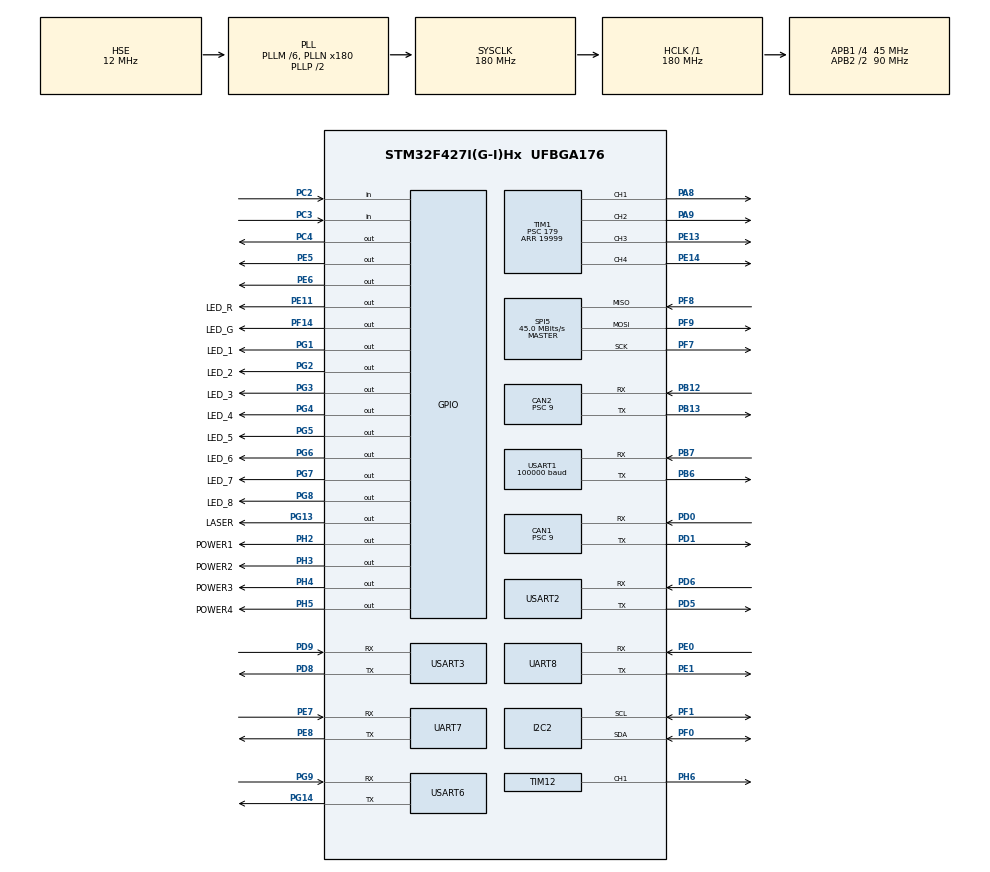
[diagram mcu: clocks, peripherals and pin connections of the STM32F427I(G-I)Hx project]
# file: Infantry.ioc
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CAN1.ABOM=ENABLE
CAN1.BS1=CAN_BS1_2TQ
CAN1.BS2=CAN_BS2_2TQ
CAN1.CalculateTimeBit=1000
CAN1.CalculateTimeQuantum=200.0
CAN1.Prescaler=9
CAN1.SJW=CAN_SJW_4TQ
CAN2.ABOM=ENABLE
CAN2.BS1=CAN_BS1_2TQ
CAN2.BS2=CAN_BS2_2TQ
CAN2.CalculateTimeBit=1000
CAN2.CalculateTimeQuantum=200.0
CAN2.Prescaler=9
CAN2.SJW=CAN_SJW_4TQ
Dma.Request0=USART1_RX
Dma.Request1=USART2_RX
Dma.Request2=USART3_RX
Dma.Request3=USART3_TX
Dma.Request4=UART8_RX
Dma.Request5=USART6_RX
Dma.Request6=USART6_TX
Dma.Request7=UART7_RX
Dma.UART7_RX.7.Channel=DMA_CHANNEL_5
Dma.UART7_RX.7.Direction=DMA_PERIPH_TO_MEMORY
Dma.UART7_RX.7.FIFOMode=DMA_FIFOMODE_DISABLE
Dma.UART7_RX.7.Instance=DMA1_Stream3
Dma.UART7_RX.7.MemDataAlignment=DMA_MDATAALIGN_BYTE
Dma.UART7_RX.7.MemInc=DMA_MINC_ENABLE
Dma.UART7_RX.7.Mode=DMA_NORMAL
Dma.UART7_RX.7.PeriphDataAlignment=DMA_PDATAALIGN_BYTE
Dma.UART7_RX.7.PeriphInc=DMA_PINC_DISABLE
Dma.UART7_RX.7.Priority=DMA_PRIORITY_LOW
Dma.UART8_RX.4.Channel=DMA_CHANNEL_5
Dma.UART8_RX.4.Direction=DMA_PERIPH_TO_MEMORY
Dma.UART8_RX.4.FIFOMode=DMA_FIFOMODE_DISABLE
Dma.UART8_RX.4.Instance=DMA1_Stream6
Dma.UART8_RX.4.MemDataAlignment=DMA_MDATAALIGN_BYTE
Dma.UART8_RX.4.MemInc=DMA_MINC_ENABLE
Dma.UART8_RX.4.Mode=DMA_NORMAL
Dma.UART8_RX.4.PeriphDataAlignment=DMA_PDATAALIGN_BYTE
Dma.UART8_RX.4.PeriphInc=DMA_PINC_DISABLE
Dma.UART8_RX.4.Priority=DMA_PRIORITY_LOW
Dma.USART1_RX.0.Channel=DMA_CHANNEL_4
Dma.USART1_RX.0.Direction=DMA_PERIPH_TO_MEMORY
Dma.USART1_RX.0.FIFOMode=DMA_FIFOMODE_DISABLE
Dma.USART1_RX.0.Instance=DMA2_Stream2
Dma.USART1_RX.0.MemDataAlignment=DMA_MDATAALIGN_BYTE
Dma.USART1_RX.0.MemInc=DMA_MINC_ENABLE
Dma.USART1_RX.0.Mode=DMA_NORMAL
Dma.USART1_RX.0.PeriphDataAlignment=DMA_PDATAALIGN_BYTE
Dma.USART1_RX.0.PeriphInc=DMA_PINC_DISABLE
Dma.USART1_RX.0.Priority=DMA_PRIORITY_LOW
Dma.USART2_RX.1.Channel=DMA_CHANNEL_4
Dma.USART2_RX.1.Direction=DMA_PERIPH_TO_MEMORY
Dma.USART2_RX.1.FIFOMode=DMA_FIFOMODE_DISABLE
Dma.USART2_RX.1.Instance=DMA1_Stream5
Dma.USART2_RX.1.MemDataAlignment=DMA_MDATAALIGN_BYTE
Dma.USART2_RX.1.MemInc=DMA_MINC_ENABLE
Dma.USART2_RX.1.Mode=DMA_NORMAL
Dma.USART2_RX.1.PeriphDataAlignment=DMA_PDATAALIGN_BYTE
Dma.USART2_RX.1.PeriphInc=DMA_PINC_DISABLE
Dma.USART2_RX.1.Priority=DMA_PRIORITY_LOW
Dma.USART3_RX.2.Channel=DMA_CHANNEL_4
Dma.USART3_RX.2.Direction=DMA_PERIPH_TO_MEMORY
Dma.USART3_RX.2.FIFOMode=DMA_FIFOMODE_DISABLE
Dma.USART3_RX.2.Instance=DMA1_Stream1
Dma.USART3_RX.2.MemDataAlignment=DMA_MDATAALIGN_BYTE
Dma.USART3_RX.2.MemInc=DMA_MINC_ENABLE
Dma.USART3_RX.2.Mode=DMA_NORMAL
Dma.USART3_RX.2.PeriphDataAlignment=DMA_PDATAALIGN_BYTE
Dma.USART3_RX.2.PeriphInc=DMA_PINC_DISABLE
Dma.USART3_RX.2.Priority=DMA_PRIORITY_LOW
Dma.USART3_TX.3.Channel=DMA_CHANNEL_7
Dma.USART3_TX.3.Direction=DMA_MEMORY_TO_PERIPH
Dma.USART3_TX.3.FIFOMode=DMA_FIFOMODE_DISABLE
Dma.USART3_TX.3.Instance=DMA1_Stream4
Dma.USART3_TX.3.MemDataAlignment=DMA_MDATAALIGN_BYTE
Dma.USART3_TX.3.MemInc=DMA_MINC_ENABLE
Dma.USART3_TX.3.Mode=DMA_NORMAL
Dma.USART3_TX.3.PeriphDataAlignment=DMA_PDATAALIGN_BYTE
Dma.USART3_TX.3.PeriphInc=DMA_PINC_DISABLE
Dma.USART3_TX.3.Priority=DMA_PRIORITY_LOW
Dma.USART6_RX.5.Channel=DMA_CHANNEL_5
Dma.USART6_RX.5.Direction=DMA_PERIPH_TO_MEMORY
Dma.USART6_RX.5.FIFOMode=DMA_FIFOMODE_DISABLE
Dma.USART6_RX.5.Instance=DMA2_Stream1
Dma.USART6_RX.5.MemDataAlignment=DMA_MDATAALIGN_BYTE
Dma.USART6_RX.5.MemInc=DMA_MINC_ENABLE
Dma.USART6_RX.5.Mode=DMA_NORMAL
Dma.USART6_RX.5.PeriphDataAlignment=DMA_PDATAALIGN_BYTE
Dma.USART6_RX.5.PeriphInc=DMA_PINC_DISABLE
Dma.USART6_RX.5.Priority=DMA_PRIORITY_LOW
Dma.USART6_TX.6.Channel=DMA_CHANNEL_5
Dma.USART6_TX.6.Direction=DMA_MEMORY_TO_PERIPH
Dma.USART6_TX.6.FIFOMode=DMA_FIFOMODE_DISABLE
Dma.USART6_TX.6.Instance=DMA2_Stream6
Dma.USART6_TX.6.MemDataAlignment=DMA_MDATAALIGN_BYTE
Dma.USART6_TX.6.MemInc=DMA_MINC_ENABLE
Dma.USART6_TX.6.Mode=DMA_NORMAL
Dma.USART6_TX.6.PeriphDataAlignment=DMA_PDATAALIGN_BYTE
Dma.USART6_TX.6.PeriphInc=DMA_PINC_DISABLE
Dma.USART6_TX.6.Priority=DMA_PRIORITY_LOW
I2C2.OwnAddress=0x30
Mcu.Family=STM32F4
Mcu.Name=STM32F427I(G-I)Hx
Mcu.Package=UFBGA176
NVIC.CAN1_RX0_IRQn=true\:0\:2\:false\:false\:true
NVIC.CAN1_TX_IRQn=true\:0\:1\:true\:false\:true
NVIC.CAN2_RX0_IRQn=true\:1\:2\:true\:false\:true
NVIC.CAN2_TX_IRQn=true\:2\:1\:true\:false\:true
NVIC.DMA1_Stream1_IRQn=true\:0\:0\:false\:false\:true
NVIC.DMA1_Stream3_IRQn=true\:0\:0\:false\:false\:true
NVIC.DMA1_Stream4_IRQn=true\:0\:0\:false\:false\:true
NVIC.DMA1_Stream5_IRQn=true\:0\:0\:false\:false\:true
NVIC.DMA1_Stream6_IRQn=true\:0\:0\:false\:false\:true
NVIC.DMA2_Stream1_IRQn=true\:0\:0\:false\:false\:true
NVIC.DMA2_Stream2_IRQn=true\:0\:0\:false\:false\:true
NVIC.DMA2_Stream6_IRQn=true\:0\:0\:false\:false\:true
NVIC.PriorityGroup=NVIC_PRIORITYGROUP_2
NVIC.TIM6_DAC_IRQn=true\:2\:0\:true\:false\:true
NVIC.TIM7_IRQn=true\:2\:1\:true\:false\:true
NVIC.UART7_IRQn=true\:1\:3\:true\:false\:true
NVIC.UART8_IRQn=true\:1\:2\:true\:false\:true
NVIC.USART1_IRQn=true\:0\:0\:false\:false\:true
NVIC.USART2_IRQn=true\:3\:0\:true\:false\:true
NVIC.USART3_IRQn=true\:2\:2\:true\:false\:true
NVIC.USART6_IRQn=true\:2\:0\:true\:false\:true
PA8.Signal=S_TIM1_CH1
PA9.Signal=S_TIM1_CH2
PB12.GPIO_PuPd=GPIO_PULLUP
PB12.Mode=Slave
PB12.Signal=CAN2_RX
PB13.GPIO_PuPd=GPIO_PULLUP
PB13.Mode=Slave
PB13.Signal=CAN2_TX
PB6.Mode=Asynchronous
PB6.Signal=USART1_TX
PB7.Mode=Asynchronous
PB7.Signal=USART1_RX
PC2.GPIO_PuPd=GPIO_PULLUP
PC2.Signal=GPIO_Input
PC3.GPIO_PuPd=GPIO_PULLUP
PC3.Signal=GPIO_Input
PC4.GPIO_PuPd=GPIO_NOPULL
PC4.Signal=GPIO_Output
PD0.GPIO_PuPd=GPIO_PULLUP
PD0.Mode=Master
PD0.Signal=CAN1_RX
PD1.GPIO_PuPd=GPIO_PULLUP
PD1.Mode=Master
PD1.Signal=CAN1_TX
PD5.Mode=Asynchronous
PD5.Signal=USART2_TX
PD6.Mode=Asynchronous
PD6.Signal=USART2_RX
PD8.Mode=Asynchronous
PD8.Signal=USART3_TX
PD9.Mode=Asynchronous
PD9.Signal=USART3_RX
PE0.Mode=Asynchronous
PE0.Signal=UART8_RX
PE1.Mode=Asynchronous
PE1.Signal=UART8_TX
PE11.GPIO_Label=LED_R
PE11.Signal=GPIO_Output
PE13.Signal=S_TIM1_CH3
PE14.Signal=S_TIM1_CH4
PE5.Signal=GPIO_Output
PE6.Signal=GPIO_Output
PE7.Mode=Asynchronous
PE7.Signal=UART7_RX
PE8.Mode=Asynchronous
PE8.Signal=UART7_TX
PF0.Mode=I2C
PF0.Signal=I2C2_SDA
PF1.Mode=I2C
PF1.Signal=I2C2_SCL
PF14.GPIO_Label=LED_G
PF14.Signal=GPIO_Output
PF7.GPIO_PuPd=GPIO_PULLUP
PF7.Mode=Full_Duplex_Master
PF7.Signal=SPI5_SCK
PF8.GPIO_PuPd=GPIO_PULLUP
PF8.Mode=Full_Duplex_Master
PF8.Signal=SPI5_MISO
PF9.GPIO_PuPd=GPIO_PULLUP
PF9.Mode=Full_Duplex_Master
PF9.Signal=SPI5_MOSI
PG1.GPIO_Label=LED_1
PG1.PinState=GPIO_PIN_SET
PG1.Signal=GPIO_Output
PG13.GPIO_Label=LASER
PG13.Signal=GPIO_Output
PG14.Mode=Asynchronous
PG14.Signal=USART6_TX
PG2.GPIO_Label=LED_2
PG2.PinState=GPIO_PIN_SET
PG2.Signal=GPIO_Output
PG3.GPIO_Label=LED_3
PG3.PinState=GPIO_PIN_SET
PG3.Signal=GPIO_Output
PG4.GPIO_Label=LED_4
PG4.PinState=GPIO_PIN_SET
PG4.Signal=GPIO_Output
PG5.GPIO_Label=LED_5
PG5.PinState=GPIO_PIN_SET
PG5.Signal=GPIO_Output
PG6.GPIO_Label=LED_6
PG6.PinState=GPIO_PIN_SET
PG6.Signal=GPIO_Output
PG7.GPIO_Label=LED_7
PG7.PinState=GPIO_PIN_SET
PG7.Signal=GPIO_Output
PG8.GPIO_Label=LED_8
PG8.PinState=GPIO_PIN_SET
PG8.Signal=GPIO_Output
PG9.Mode=Asynchronous
PG9.Signal=USART6_RX
PH0/OSC_IN.Mode=HSE-External-Oscillator
PH0/OSC_IN.Signal=RCC_OSC_IN
PH1/OSC_OUT.Mode=HSE-External-Oscillator
PH1/OSC_OUT.Signal=RCC_OSC_OUT
PH2.GPIO_Label=POWER1
PH2.PinState=GPIO_PIN_SET
PH2.Signal=GPIO_Output
PH3.GPIO_Label=POWER2
PH3.PinState=GPIO_PIN_SET
PH3.Signal=GPIO_Output
PH4.GPIO_Label=POWER3
PH4.PinState=GPIO_PIN_SET
PH4.Signal=GPIO_Output
PH5.GPIO_Label=POWER4
PH5.PinState=GPIO_PIN_SET
PH5.Signal=GPIO_Output
PH6.Signal=S_TIM12_CH1
ProjectManager.HeapSize=0x200
ProjectManager.StackSize=0x400
ProjectManager.TargetToolchain=MDK-ARM V5
RCC.48MHZClocksFreq_Value=90000000
RCC.AHBFreq_Value=180000000
RCC.APB1CLKDivider=RCC_HCLK_DIV4
RCC.APB1Freq_Value=45000000
RCC.APB1TimFreq_Value=90000000
RCC.APB2CLKDivider=RCC_HCLK_DIV2
RCC.APB2Freq_Value=90000000
RCC.APB2TimFreq_Value=180000000
RCC.CortexFreq_Value=180000000
RCC.HCLKFreq_Value=180000000
RCC.HSE_VALUE=12000000
RCC.HSI_VALUE=16000000
RCC.LSE_VALUE=32768
RCC.PLLM=6
RCC.PLLN=180
RCC.PLLSourceVirtual=RCC_PLLSOURCE_HSE
RCC.SYSCLKFreq_VALUE=180000000
RCC.SYSCLKSource=RCC_SYSCLKSOURCE_PLLCLK
RCC.VCOOutputFreq_Value=360000000
SH.S_TIM12_CH1.0=TIM12_CH1,PWM Generation1 CH1
SH.S_TIM1_CH1.0=TIM1_CH1,PWM Generation1 CH1
SH.S_TIM1_CH2.0=TIM1_CH2,PWM Generation2 CH2
SH.S_TIM1_CH3.0=TIM1_CH3,PWM Generation3 CH3
SH.S_TIM1_CH4.0=TIM1_CH4,PWM Generation4 CH4
SPI5.CalculateBaudRate=45.0 MBits/s
SPI5.Mode=SPI_MODE_MASTER
TIM1.Channel-PWM\ Generation2\ CH2=TIM_CHANNEL_2
TIM1.Channel-PWM\ Generation3\ CH3=TIM_CHANNEL_3
TIM1.Channel-PWM\ Generation4\ CH4=TIM_CHANNEL_4
TIM1.OCFastMode_PWM-PWM\ Generation1\ CH1=TIM_OCFAST_ENABLE
TIM1.OCFastMode_PWM-PWM\ Generation2\ CH2=TIM_OCFAST_ENABLE
TIM1.OCFastMode_PWM-PWM\ Generation3\ CH3=TIM_OCFAST_ENABLE
TIM1.OCFastMode_PWM-PWM\ Generation4\ CH4=TIM_OCFAST_ENABLE
TIM1.Period=19999
TIM1.Prescaler=179
TIM1.Pulse-PWM\ Generation1\ CH1=1000
TIM1.Pulse-PWM\ Generation2\ CH2=1000
TIM1.Pulse-PWM\ Generation3\ CH3=1000
TIM1.Pulse-PWM\ Generation4\ CH4=1000
TIM12.Period=19999
TIM12.Prescaler=89
TIM12.Pulse-PWM\ Generation1\ CH1=1000
TIM6.Period=99
TIM6.Prescaler=899
TIM7.Period=999
TIM7.Prescaler=899
USART1.BaudRate=100000
VP_TIM6_VS_ClockSourceINT.Mode=Enable_Timer
VP_TIM7_VS_ClockSourceINT.Mode=Enable_Timer
board=Infantry

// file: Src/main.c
/**
  ******************************************************************************
  * File Name          : main.c
  * Description        : Main program body
  ******************************************************************************
  *
  * COPYRIGHT(c) 2018 STMicroelectronics
  *
  * Redistribution and use in source and binary forms, with or without modification,
  * are permitted provided that the following conditions are met:
  *   1. Redistributions of source code must retain the above copyright notice,
  *      this list of conditions and the following disclaimer.
  *   2. Redistributions in binary form must reproduce the above copyright notice,
  *      this list of conditions and the following disclaimer in the documentation
  *      and/or other materials provided with the distribution.
  *   3. Neither the name of STMicroelectronics nor the names of its contributors
  *      may be used to endorse or promote products derived from this software
  *      without specific prior written permission.
  *
  * THIS SOFTWARE IS PROVIDED BY THE COPYRIGHT HOLDERS AND CONTRIBUTORS "AS IS"
  * AND ANY EXPRESS OR IMPLIED WARRANTIES, INCLUDING, BUT NOT LIMITED TO, THE
  * IMPLIED WARRANTIES OF MERCHANTABILITY AND FITNESS FOR A PARTICULAR PURPOSE ARE
  * DISCLAIMED. IN NO EVENT SHALL THE COPYRIGHT HOLDER OR CONTRIBUTORS BE LIABLE
  * FOR ANY DIRECT, INDIRECT, INCIDENTAL, SPECIAL, EXEMPLARY, OR CONSEQUENTIAL
  * DAMAGES (INCLUDING, BUT NOT LIMITED TO, PROCUREMENT OF SUBSTITUTE GOODS OR
  * SERVICES; LOSS OF USE, DATA, OR PROFITS; OR BUSINESS INTERRUPTION) HOWEVER
  * CAUSED AND ON ANY THEORY OF LIABILITY, WHETHER IN CONTRACT, STRICT LIABILITY,
  * OR TORT (INCLUDING NEGLIGENCE OR OTHERWISE) ARISING IN ANY WAY OUT OF THE USE
  * OF THIS SOFTWARE, EVEN IF ADVISED OF THE POSSIBILITY OF SUCH DAMAGE.
  *
  ******************************************************************************
  */
#include "stm32f4xx_hal.h"
#include "can.h"
#include "dma.h"
#include "i2c.h"
#include "spi.h"
#include "tim.h"
#include "usart.h"
#include "gpio.h"

/* USER CODE BEGIN Includes */
#include "User_TIM.h"
#include "User_GPIO.h"
#include "User_USART.h"
#include "User_can.h"
#include "Dirver_OLED.h"
#include "User.h"
#include "Driver_Gyro.h"
/* USER CODE END Includes */

/* USER CODE BEGIN PV */
/* Private variables ---------------------------------------------------------*/

/* USER CODE END PV */

void SystemClock_Config(void);

/* USER CODE BEGIN PFP */
/* Private function prototypes -----------------------------------------------*/

/* USER CODE END PFP */

int main(void)
{

  /* MCU Configuration----------------------------------------------------------*/

  /* Reset of all peripherals, Initializes the Flash interface and the Systick. */

  HAL_Init();

  /* Configure the system clock */
  SystemClock_Config();

  /* Initialize all configured peripherals */
  MX_GPIO_Init();
  MX_DMA_Init();
  MX_CAN1_Init();
  MX_CAN2_Init();
  MX_I2C2_Init();
  MX_SPI5_Init();
  MX_TIM1_Init();
  MX_TIM6_Init();
  MX_TIM7_Init();
  MX_UART7_Init();
  MX_UART8_Init();
  MX_USART1_UART_Init();
  MX_USART2_UART_Init();
  MX_USART3_UART_Init();
  MX_USART6_UART_Init();
  MX_TIM12_Init();

  /* USER CODE BEGIN 2 */

  DBUS_InitConfig();//初始化DBUS接收参数
  OLED_Init();
  HAL_Delay(2000);//等待模块稳定
  UART_Init();
  CAN_Init(&hcan1);
  CAN_Init(&hcan2);
  Motor_Param_Init();
  HAL_Delay(200);
  Get_Target_Angle();
  HAL_Delay(200);
  TIM_Init();
  Bell_Init();
  /* USER CODE END 2 */

  /* Infinite loop */
  while (1)
  {

  }

}

/** System Clock Configuration
*/
void SystemClock_Config(void)
{

  RCC_OscInitTypeDef RCC_OscInitStruct;
  RCC_ClkInitTypeDef RCC_ClkInitStruct;

  __HAL_RCC_PWR_CLK_ENABLE();

  __HAL_PWR_VOLTAGESCALING_CONFIG(PWR_REGULATOR_VOLTAGE_SCALE1);

  RCC_OscInitStruct.OscillatorType = RCC_OSCILLATORTYPE_HSE;
  RCC_OscInitStruct.HSEState = RCC_HSE_ON;
  RCC_OscInitStruct.PLL.PLLState = RCC_PLL_ON;
  RCC_OscInitStruct.PLL.PLLSource = RCC_PLLSOURCE_HSE;
  RCC_OscInitStruct.PLL.PLLM = 6;
  RCC_OscInitStruct.PLL.PLLN = 180;
  RCC_OscInitStruct.PLL.PLLP = RCC_PLLP_DIV2;
  RCC_OscInitStruct.PLL.PLLQ = 4;
  HAL_RCC_OscConfig(&RCC_OscInitStruct);

  HAL_PWREx_EnableOverDrive();

  RCC_ClkInitStruct.ClockType = RCC_CLOCKTYPE_HCLK|RCC_CLOCKTYPE_SYSCLK
                              |RCC_CLOCKTYPE_PCLK1|RCC_CLOCKTYPE_PCLK2;
  RCC_ClkInitStruct.SYSCLKSource = RCC_SYSCLKSOURCE_PLLCLK;
  RCC_ClkInitStruct.AHBCLKDivider = RCC_SYSCLK_DIV1;
  RCC_ClkInitStruct.APB1CLKDivider = RCC_HCLK_DIV4;
  RCC_ClkInitStruct.APB2CLKDivider = RCC_HCLK_DIV2;
  HAL_RCC_ClockConfig(&RCC_ClkInitStruct, FLASH_LATENCY_5);

  HAL_SYSTICK_Config(HAL_RCC_GetHCLKFreq()/1000);

  HAL_SYSTICK_CLKSourceConfig(SYSTICK_CLKSOURCE_HCLK);

  /* SysTick_IRQn interrupt configuration */
  HAL_NVIC_SetPriority(SysTick_IRQn, 0, 0);
}

/************************ (C) COPYRIGHT STMicroelectronics *****END OF FILE****/
